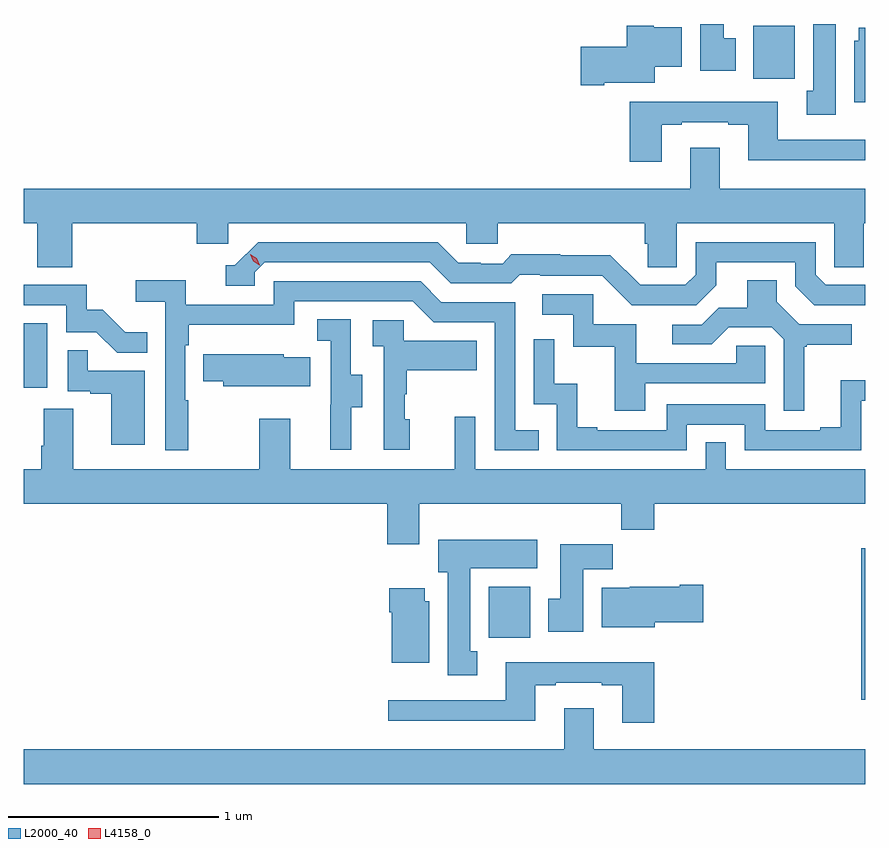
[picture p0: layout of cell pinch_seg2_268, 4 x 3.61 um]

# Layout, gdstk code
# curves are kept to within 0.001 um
import gdstk
lib = gdstk.Library(unit=1e-6, precision=1e-09)
def R(c, l, rs):  # rectangles x0, y0, x1, y1
    for r in rs: c.add(gdstk.rectangle(r[:2], r[2:], *l))
def P(c, l, *ps):  # polygons
    for p in ps: c.add(gdstk.Polygon(p, *l))
L2000_40 = (2000, 40)
L4158_0 = (4158, 0)

pinch_seg2_268 = lib.new_cell('pinch_seg2_268')
R(pinch_seg2_268, L2000_40, [(912.608,650.7,912.627,651.421), (910.838,650.996,911.035,651.238), (908.627,652.182,908.74,652.489), (912.095,653.652,912.291,653.902)])
P(pinch_seg2_268, L2000_40, [(912.01,653.844),(911.953,653.844),(911.953,653.911),(911.843,653.911),(911.843,653.688),(912.01,653.688)],
  [(912.487,653.911),(912.38,653.911),(912.38,653.593),(912.347,653.593),(912.347,653.481),(912.487,653.481)],
  [(911.386,653.633),(911.626,653.633),(911.626,653.708),(911.755,653.708),(911.755,653.896),(911.622,653.896),(911.622,653.902),(911.492,653.902),(911.492,653.804),(911.274,653.804),(911.274,653.621),(911.386,653.621)],
  [(912.627,653.893),(912.596,653.893),(912.596,653.832),(912.575,653.832),(912.575,653.54),(912.627,653.54)],
  [(911.659,653.433),(911.755,653.433),(911.755,653.445),(911.975,653.445),(911.975,653.433),(912.071,653.433),(912.071,653.264),(912.627,653.264),(912.627,653.361),(912.211,653.361),(912.211,653.542),(911.507,653.542),(911.507,653.256),(911.659,653.256)],
  [(911.795,653.323),(911.795,653.128),(908.627,653.128),(908.627,652.964),(908.693,652.964),(908.693,652.756),(908.858,652.756),(908.858,652.964),(909.449,652.964),(909.449,652.866),(909.6,652.866),(909.6,652.964),(910.731,652.964),(910.731,652.866),(910.881,652.866),(910.881,652.964),(911.579,652.964),(911.579,652.866),(911.593,652.866),(911.593,652.756),(911.73,652.756),(911.73,652.964),(912.48,652.964),(912.48,652.756),(912.619,652.756),(912.619,652.964),(912.627,652.964),(912.627,653.128),(911.935,653.128),(911.935,653.323)],
  [(912.627,652.671),(912.438,652.671),(912.39,652.719),(912.39,652.875),(911.82,652.875),(911.82,652.719),(911.772,652.671),(911.556,652.671),(911.414,652.813),(911.178,652.813),(911.178,652.816),(910.945,652.816),(910.903,652.773),(910.8,652.773),(910.8,652.776),(910.693,652.776),(910.594,652.875),(909.741,652.875),(909.63,652.764),(909.587,652.764),(909.587,652.668),(909.726,652.668),(909.726,652.731),(909.774,652.779),(910.557,652.779),(910.656,652.68),(910.945,652.68),(910.984,652.719),(911.083,652.719),(911.083,652.716),(911.376,652.716),(911.517,652.575),(911.823,652.575),(911.917,652.669),(911.917,652.779),(912.294,652.779),(912.294,652.665),(912.384,652.575),(912.627,652.574)],
  [(912.337,652.377),(912.349,652.377),(912.349,652.388),(912.562,652.388),(912.562,652.485),(912.312,652.485),(912.205,652.592),(912.205,652.694),(912.065,652.694),(912.065,652.562),(911.93,652.562),(911.85,652.482),(911.709,652.482),(911.709,652.389),(911.896,652.389),(911.977,652.47),(912.183,652.47),(912.24,652.413),(912.24,652.074),(912.337,652.074)],
  [(909.409,652.124),(909.396,652.124),(909.396,652.385),(909.413,652.385),(909.413,652.481),(909.912,652.481),(909.912,652.593),(910.476,652.593),(910.575,652.494),(910.866,652.494),(910.866,651.885),(911.075,651.885),(911.075,651.981),(910.962,651.981),(910.962,652.59),(910.612,652.59),(910.513,652.689),(909.816,652.689),(909.816,652.578),(909.398,652.578),(909.398,652.694),(909.159,652.694),(909.159,652.592),(909.3,652.592),(909.3,651.885),(909.409,651.885)],
  [(909.215,652.447),(909.111,652.447),(909.004,652.554),(908.928,652.554),(908.928,652.671),(908.627,652.671),(908.627,652.575),(908.829,652.575),(908.829,652.446),(908.973,652.446),(909.071,652.348),(909.215,652.348)],
  [(911.581,652.203),(912.15,652.203),(912.15,652.383),(912.013,652.383),(912.013,652.299),(911.539,652.299),(911.539,652.485),(911.334,652.485),(911.334,652.626),(911.091,652.626),(911.091,652.53),(911.238,652.53),(911.238,652.377),(911.437,652.377),(911.437,652.074),(911.581,652.074)],
  [(910.183,652.09),(910.237,652.09),(910.237,652.245),(910.182,652.245),(910.182,652.508),(910.023,652.508),(910.023,652.405),(910.086,652.405),(910.086,652.101),(910.085,652.101),(910.085,651.888),(910.183,651.888)],
  [(910.462,652.032),(910.437,652.032),(910.437,652.151),(910.447,652.151),(910.447,652.265),(910.781,652.265),(910.781,652.405),(910.434,652.405),(910.434,652.503),(910.287,652.503),(910.287,652.379),(910.338,652.379),(910.338,651.888),(910.462,651.888)],
  [(911.778,652.008),(912.054,652.008),(912.054,651.885),(912.606,651.885),(912.606,652.121),(912.627,652.121),(912.627,652.219),(912.509,652.219),(912.509,651.994),(912.413,651.994),(912.413,651.981),(912.15,651.981),(912.15,652.104),(911.682,652.104),(911.682,651.981),(911.353,651.981),(911.353,651.994),(911.258,651.994),(911.258,652.202),(911.148,652.202),(911.148,652.414),(911.052,652.414),(911.052,652.104),(911.16,652.104),(911.16,651.885),(911.778,651.885)],
  [(909.202,652.263),(908.933,652.263),(908.933,652.361),(908.838,652.361),(908.838,652.167),(908.945,652.167),(908.945,652.155),(909.044,652.155),(909.044,651.912),(909.202,651.912)],
  [(909.989,652.327),(909.864,652.327),(909.864,652.342),(909.592,652.342),(909.592,652.341),(909.481,652.341),(909.481,652.213),(909.575,652.213),(909.575,652.19),(909.989,652.19)],
  [(910.507,651.632),(911.467,651.632),(911.467,651.508),(911.624,651.508),(911.624,651.632),(912.627,651.632),(912.627,651.796),(911.964,651.796),(911.964,651.923),(911.868,651.923),(911.868,651.796),(910.773,651.796),(910.773,652.045),(910.676,652.045),(910.676,651.796),(909.895,651.796),(909.895,652.036),(909.748,652.036),(909.748,651.796),(908.863,651.796),(908.863,652.082),(908.723,652.082),(908.723,651.908),(908.711,651.908),(908.711,651.796),(908.627,651.796),(908.627,651.632),(910.355,651.632),(910.355,651.438),(910.507,651.438)],
  [(910.783,650.93),(910.75,650.93),(910.75,651.326),(911.068,651.326),(911.068,651.46),(910.598,651.46),(910.598,651.306),(910.643,651.306),(910.643,650.817),(910.783,650.817)],
  [(911.287,651.32),(911.426,651.32),(911.426,651.439),(911.177,651.439),(911.177,651.18),(911.12,651.18),(911.12,651.024),(911.287,651.024)],
  [(911.626,651.068),(911.857,651.068),(911.857,651.246),(911.744,651.246),(911.744,651.238),(911.508,651.238),(911.508,651.232),(911.375,651.232),(911.375,651.044),(911.626,651.044)],
  [(910.555,651.168),(910.534,651.168),(910.534,651.229),(910.364,651.229),(910.364,651.116),(910.376,651.116),(910.376,650.876),(910.555,650.876)],
  [(911.624,650.878),(910.919,650.878),(910.919,650.697),(910.359,650.697),(910.359,650.6),(911.059,650.6),(911.059,650.769),(911.155,650.769),(911.155,650.781),(911.375,650.781),(911.375,650.769),(911.471,650.769),(911.471,650.592),(911.624,650.592)],
  [(912.627,650.464),(911.335,650.464),(911.335,650.659),(911.195,650.659),(911.195,650.464),(908.627,650.464),(908.627,650.3),(912.627,650.3)])
P(pinch_seg2_268, L4158_0, [(909.748,652.764),(909.718,652.784),(909.703,652.817),(909.703,652.817),(909.704,652.817),(909.734,652.797),(909.749,652.764),(909.749,652.764)])

lib.write_gds('pinch_seg2_268.gds')
